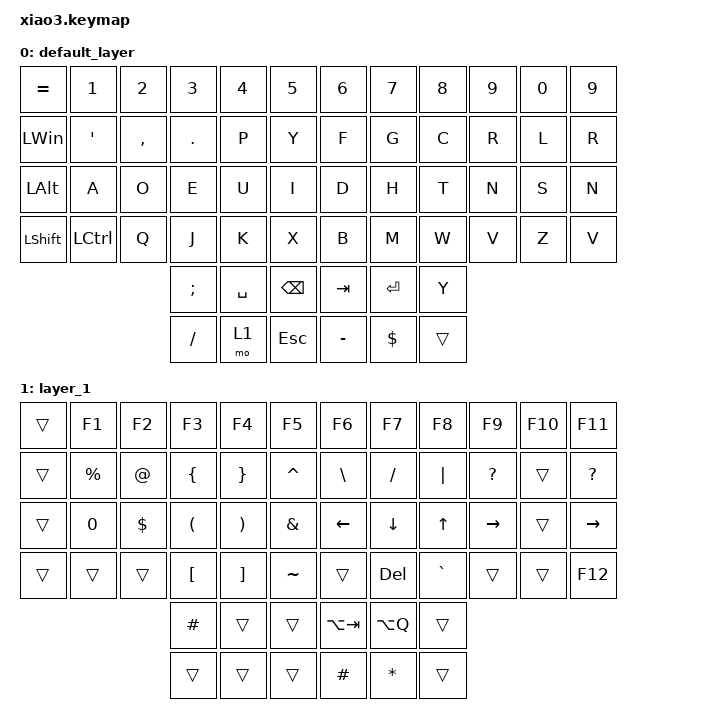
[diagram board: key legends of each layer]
/*
 * Copyright (c) 2020 The ZMK Contributors
 *
 * SPDX-License-Identifier: MIT
 */

#include <behaviors/mouse_keys.dtsi>
#include <behaviors.dtsi>
#include <dt-bindings/zmk/keys.h>

/ {
    keymap {
        compatible = "zmk,keymap";

        default_layer {
            bindings = <
&kp EQUAL       &kp N1            &kp N2     &kp N3         &kp N4     &kp N5        &kp N6     &kp N7      &kp N8  &kp N9  &kp N0  &kp N9
&kp LEFT_WIN    &kp SQT           &kp COMMA  &kp PERIOD     &kp P      &kp Y         &kp F      &kp G       &kp C   &kp R   &kp L   &kp R
&kp LEFT_ALT    &kp A             &kp O      &kp E          &kp U      &kp I         &kp D      &kp H       &kp T   &kp N   &kp S   &kp N
&kp LEFT_SHIFT  &kp LEFT_CONTROL  &kp Q      &kp J          &kp K      &kp X         &kp B      &kp M       &kp W   &kp V   &kp Z   &kp V
                                             &kp SEMICOLON  &kp SPACE  &kp BSPC      &kp TAB    &kp RET     &kp Y
                                             &kp SLASH      &mo 1      &kp ESCAPE    &kp MINUS  &kp DOLLAR  &trans
            >;
        };

        layer_1 {
            bindings = <
&trans  &kp F1       &kp F2      &kp F3                &kp F4                 &kp F5           &kp F6         &kp F7          &kp F8        &kp F9        &kp F10  &kp F11
&trans  &kp PERCENT  &kp AT      &kp LEFT_BRACE        &kp RIGHT_BRACE        &kp CARET        &kp BACKSLASH  &kp SLASH       &kp PIPE      &kp QUESTION  &trans   &kp QUESTION
&trans  &kp N0       &kp DOLLAR  &kp LEFT_PARENTHESIS  &kp RIGHT_PARENTHESIS  &kp AMPERSAND    &kp LEFT       &kp DOWN_ARROW  &kp UP_ARROW  &kp RIGHT     &trans   &kp RIGHT
&trans  &trans       &trans      &kp LEFT_BRACKET      &kp RIGHT_BRACKET      &kp TILDE        &trans         &kp DELETE      &kp GRAVE     &trans        &trans   &kp F12
                                 &kp HASH              &trans                 &trans           &kp LA(TAB)    &kp LA(Q)       &trans
                                 &trans                &trans                 &trans           &kp HASH       &kp ASTERISK    &trans
            >;
        };
    };
};
